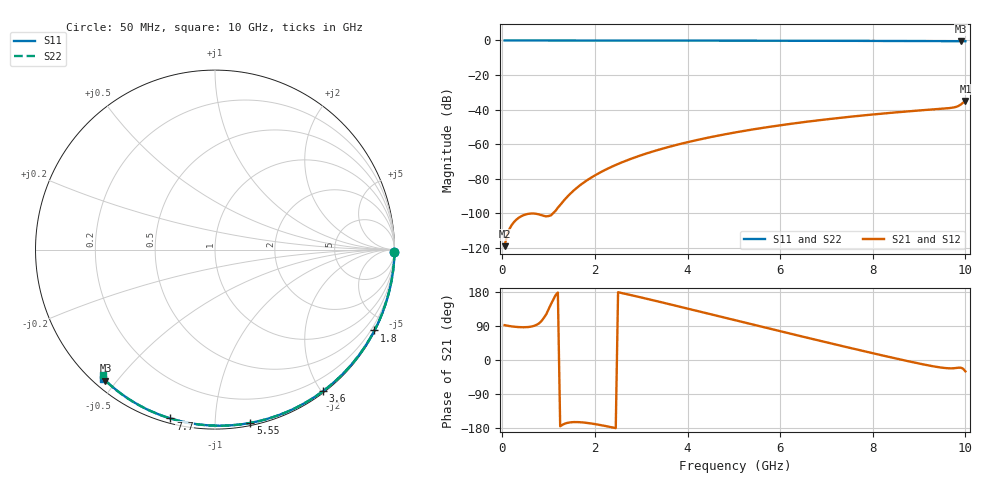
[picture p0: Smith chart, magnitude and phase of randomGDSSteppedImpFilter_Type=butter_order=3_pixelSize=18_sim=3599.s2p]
! freq	dB(S11)	phase(S11)	dB(S12)	phase(S12)
!  dB(S21)	phase(S21)	dB(S22)	phase(S22)
!S-par simulation data
#  GHz  S  DB  R 50
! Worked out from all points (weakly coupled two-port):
!   200 points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, 50 MHz to 10 GHz, reference 50 ohm
!   highest |S21| = -35.09 dB at 10 GHz (marker M1); lowest = -119.0 dB at 50 MHz (marker M2)
!   lowest |S11| = -0.4 dB at 9.9 GHz (marker M3), VSWR 40.21, Z = 1.51 - j23.4 ohm
!   |S11| at or under -10 dB: nowhere
!   |S22| runs from -0.6 to 0.0 dB; largest |S21 - S12| = 0
!   S11 on the Smith chart (normalised r, x): 50 MHz: open; 1.8 GHz: 0.04, -4.19; 3.6 GHz: 0.02, -2.03; 5.55 GHz: 0.02, -1.22; 7.7 GHz: 0.02, -0.77; 10 GHz: 0.03, -0.46
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0.05  -0.00 -0.8  -119.03 92.0  -119.03 92.0  -0.00 -0.8
0.9  -0.02 -13.6  -101.52 111.6  -101.52 111.6  -0.02 -13.6
1.75  -0.03 -26.1  -82.38 -164.9  -82.38 -164.9  -0.03 -26.2
1.8  -0.03 -26.9  -81.44 -165.6  -81.44 -165.6  -0.03 -26.9
1.9  -0.04 -28.3  -79.69 -167.2  -79.69 -167.2  -0.04 -28.4
2.05  -0.04 -30.5  -77.31 -170.1  -77.31 -170.1  -0.04 -30.6
2.25  -0.04 -33.4  -74.51 -174.7  -74.51 -174.7  -0.04 -33.5
2.65  -0.05 -39.2  -69.80 174.8  -69.80 174.8  -0.05 -39.3
3  -0.06 -44.2  -66.39 165.0  -66.39 165.0  -0.06 -44.2
3.4  -0.07 -49.8  -63.05 153.5  -63.05 153.5  -0.07 -49.9
3.6  -0.07 -52.5  -61.56 147.6  -61.56 147.6  -0.07 -52.7
4.3  -0.09 -62.1  -57.05 126.7  -57.05 126.7  -0.09 -62.2
5.05  -0.11 -72.0  -53.12 104.3  -53.12 104.3  -0.11 -72.2
5.55  -0.13 -78.5  -50.89 89.4  -50.89 89.4  -0.13 -78.7
6.1  -0.15 -85.4  -48.71 73.0  -48.71 73.0  -0.15 -85.6
6.7  -0.18 -92.8  -46.61 55.4  -46.61 55.4  -0.18 -93.0
7.7  -0.24 -104.8  -43.63 26.4  -43.63 26.4  -0.24 -105.1
8.35  -0.29 -112.4  -41.97 8.1  -41.97 8.1  -0.29 -112.7
9.65  -0.41 -127.2  -39.15 -22.0  -39.15 -22.0  -0.41 -127.7
9.8  -0.42 -128.8  -38.43 -21.1  -38.43 -21.1  -0.44 -129.6
9.9  -0.43 -129.9  -37.10 -20.2  -37.10 -20.2  -0.49 -130.8
10  -0.43 -131.0  -35.09 -30.0  -35.09 -30.0  -0.57 -131.7
